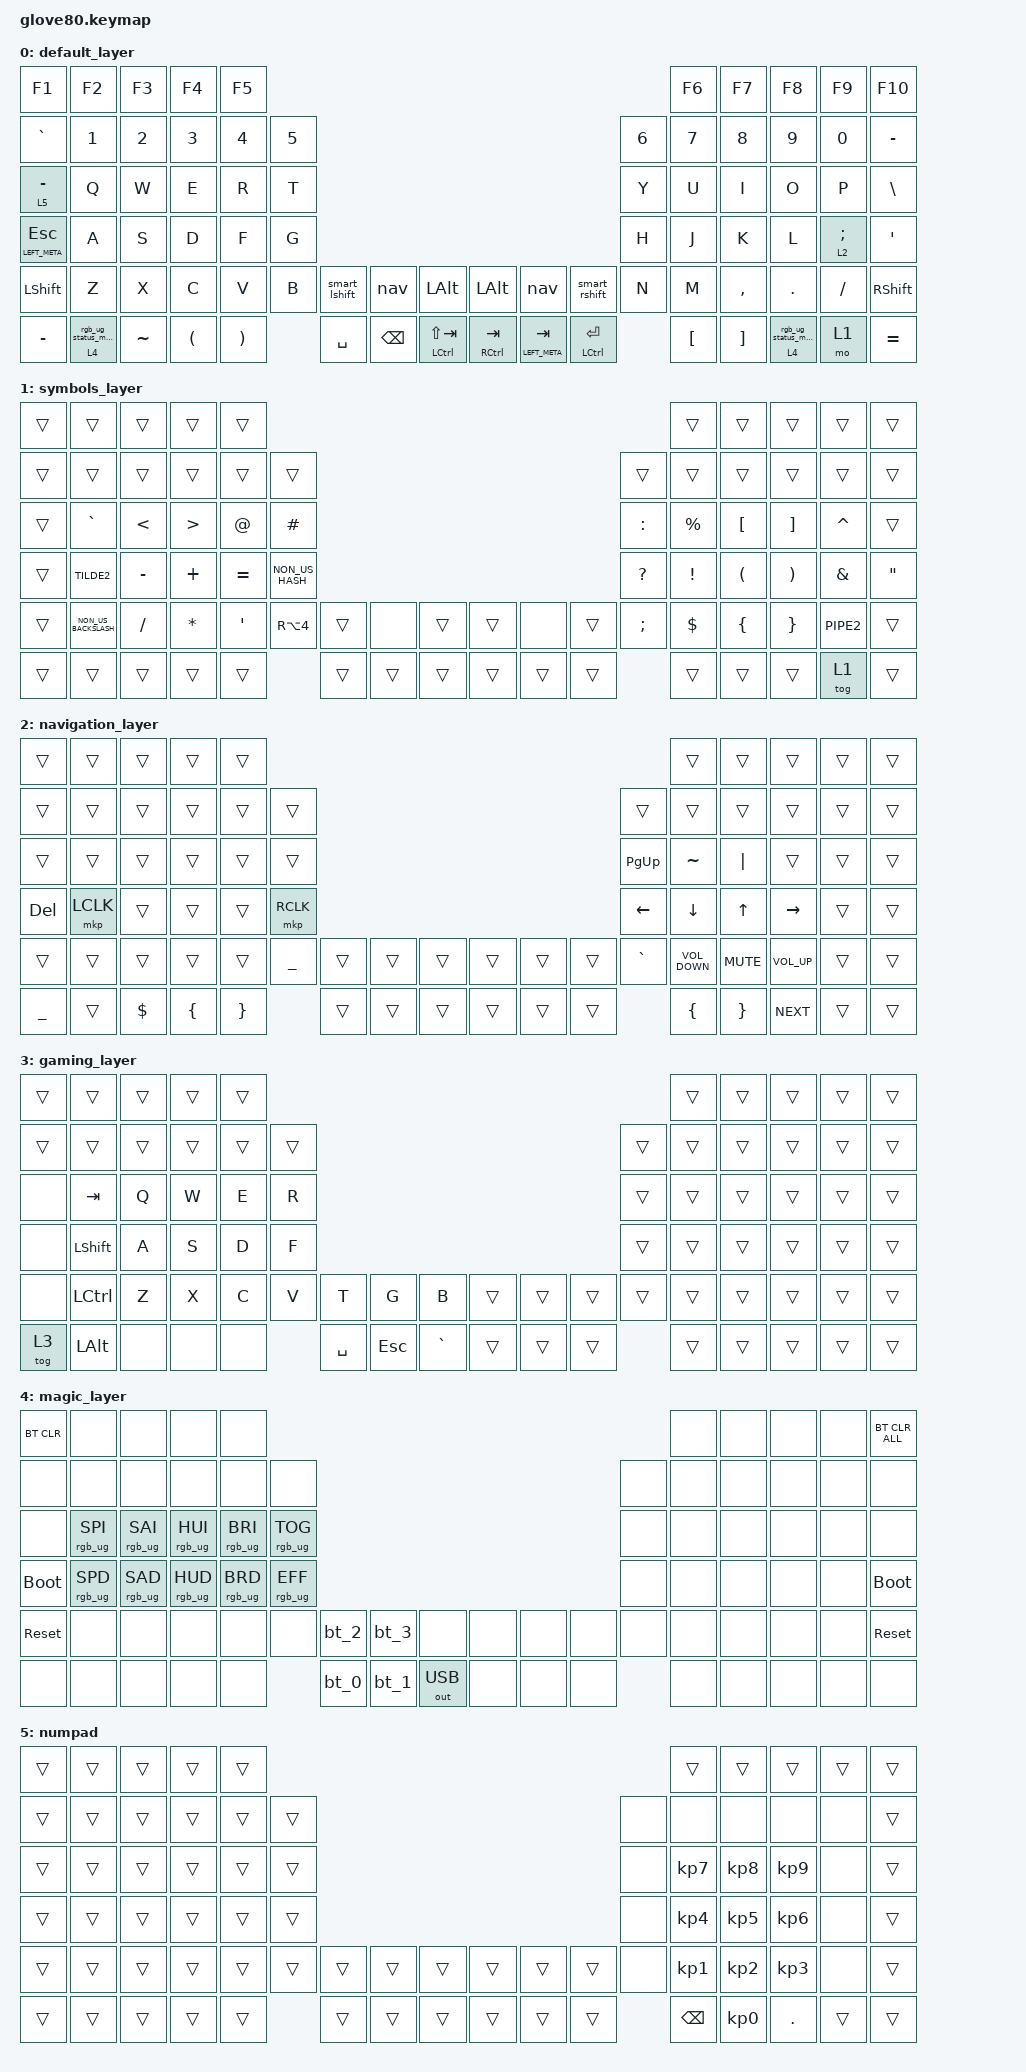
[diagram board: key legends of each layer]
/*
 * Copyright (c) 2020 The ZMK Contributors
 * Copyright (c) 2023 Matt Sturgeon
 *
 * SPDX-License-Identifier: MIT
 */

#include <behaviors.dtsi>
#include <dt-bindings/zmk/bt.h>
#include <dt-bindings/zmk/keys.h>
#include <dt-bindings/zmk/mouse.h>
#include <dt-bindings/zmk/outputs.h>
#include <dt-bindings/zmk/rgb.h>

/ {
    behaviors {
        symbols: symbols {
            compatible = "zmk,behavior-tap-dance";
            label = "SYMBOLS";
            #binding-cells = <0>;
            bindings = <&mo 1>, <&to 1>;
        };

        nav: nav {
            compatible = "zmk,behavior-tap-dance";
            label = "NAV";
            #binding-cells = <0>;
            bindings = <&mo 2>, <&to 2>;
        };

        smart_lshift: smart_lshift {
            compatible = "zmk,behavior-tap-dance";
            label = "SMART_LSHIFT";
            #binding-cells = <0>;
            bindings = <&kp LSHFT>, <&caps_word>;
        };

        smart_rshift: smart_rshift {
            compatible = "zmk,behavior-tap-dance";
            label = "SMART_RSHIFT";
            #binding-cells = <0>;
            bindings = <&kp RSHFT>, <&caps_word>;
        };

        quotes: quotes {
            compatible = "zmk,behavior-mod-morph";
            label = "QUOTES";
            bindings = <&kp SINGLE_QUOTE>, <&kp AT>;

            #binding-cells = <0>;
            mods = <(MOD_LSFT|MOD_RSFT)>;
        };

        question_excl: question_excl {
            compatible = "zmk,behavior-mod-morph";
            label = "QUESTION_EXCL";
            bindings = <&kp QUESTION>, <&kp EXCL>;

            #binding-cells = <0>;
            mods = <(MOD_LSFT|MOD_RSFT)>;
        };

        dash_slash: dash_slash {
            compatible = "zmk,behavior-mod-morph";
            label = "DASH_SLASH";
            bindings = <&kp MINUS>, <&kp SLASH>;

            #binding-cells = <0>;
            mods = <(MOD_LSFT|MOD_RSFT)>;
        };

        dot_colon: dot_colon {
            compatible = "zmk,behavior-mod-morph";
            label = "DOT_COLON";
            bindings = <&kp DOT>, <&kp COLON>;

            #binding-cells = <0>;
            mods = <(MOD_LSFT|MOD_RSFT)>;
        };

        comma_semi: comma_semi {
            compatible = "zmk,behavior-mod-morph";
            label = "COMMA_SEMI";
            bindings = <&kp COMMA>, <&kp SEMI>;

            #binding-cells = <0>;
            mods = <(MOD_LSFT|MOD_RSFT)>;
        };

        under_backsl: under_backsl {
            compatible = "zmk,behavior-mod-morph";
            label = "UNDER_BACKSL";
            bindings = <&kp UNDERSCORE>, <&kp NON_US_BACKSLASH>;

            #binding-cells = <0>;
            mods = <(MOD_RSFT|MOD_LSFT)>;
        };

        zero_f10: zero_f10 {
            compatible = "zmk,behavior-mod-morph";
            label = "ZERO_F10";
            bindings = <&kp N0>, <&kp F10>;

            #binding-cells = <0>;
            mods = <(MOD_RSFT|MOD_LSFT)>;
        };

        one_f1: one_f1 {
            compatible = "zmk,behavior-mod-morph";
            label = "ONE_F1";
            bindings = <&kp N1>, <&kp F1>;

            #binding-cells = <0>;
            mods = <(MOD_RSFT|MOD_LSFT)>;
        };

        two_f2: two_f2 {
            compatible = "zmk,behavior-mod-morph";
            label = "TWO_F2";
            bindings = <&kp N2>, <&kp F2>;

            #binding-cells = <0>;
            mods = <(MOD_LSFT|MOD_RSFT)>;
        };

        three_f3: three_f3 {
            compatible = "zmk,behavior-mod-morph";
            label = "THREE_F3";
            bindings = <&kp N3>, <&kp F3>;

            #binding-cells = <0>;
            mods = <(MOD_LSFT|MOD_RSFT)>;
        };

        four_f4: four_f4 {
            compatible = "zmk,behavior-mod-morph";
            label = "FOUR_F4";
            bindings = <&kp N4>, <&kp F4>;

            #binding-cells = <0>;
            mods = <(MOD_LSFT|MOD_RSFT)>;
        };

        five_f5: five_f5 {
            compatible = "zmk,behavior-mod-morph";
            label = "FIVE_F5";
            bindings = <&kp N5>, <&kp F5>;

            #binding-cells = <0>;
            mods = <(MOD_LSFT|MOD_RSFT)>;
        };

        six_f6: six_f6 {
            compatible = "zmk,behavior-mod-morph";
            label = "SIX_F6";
            bindings = <&kp N6>, <&kp F6>;

            #binding-cells = <0>;
            mods = <(MOD_LSFT|MOD_RSFT)>;
        };

        sev_f7: sev_f7 {
            compatible = "zmk,behavior-mod-morph";
            label = "SEV_F7";
            bindings = <&kp N7>, <&kp F7>;

            #binding-cells = <0>;
            mods = <(MOD_LSFT|MOD_RSFT)>;
        };

        eight_f8: eight_f8 {
            compatible = "zmk,behavior-mod-morph";
            label = "EIGHT_F8";
            bindings = <&kp N8>, <&kp F8>;

            #binding-cells = <0>;
            mods = <(MOD_LSFT|MOD_RSFT)>;
        };

        nine_f9: nine_f9 {
            compatible = "zmk,behavior-mod-morph";
            label = "NINE_F9";
            bindings = <&kp N9>, <&kp F9>;

            #binding-cells = <0>;
            mods = <(MOD_LSFT|MOD_RSFT)>;
        };

        mult_f11: mult_f11 {
            compatible = "zmk,behavior-mod-morph";
            label = "MULT_F11";
            bindings = <&kp KP_MULTIPLY>, <&kp F11>;

            #binding-cells = <0>;
            mods = <(MOD_LSFT|MOD_RSFT)>;
        };

        eq_f12: eq_f12 {
            compatible = "zmk,behavior-mod-morph";
            label = "EQ_F12";
            bindings = <&kp KP_EQUAL>, <&kp F12>;

            #binding-cells = <0>;
            mods = <(MOD_LSFT|MOD_RSFT)>;
        };

        magic: magic_hold_tap {
            compatible = "zmk,behavior-hold-tap";
            label = "MAGIC_HOLD_TAP";
            #binding-cells = <2>;
            flavor = "tap-preferred";
            tapping-term-ms = <200>;
            bindings = <&mo>, <&rgb_ug_status_macro>;
        };
    };
};

/ {
    macros {
        rgb_ug_status_macro: rgb_ug_status_macro_0 {
            label = "RGB_UG_STATUS";
            compatible = "zmk,behavior-macro";
            #binding-cells = <0>;
            bindings = <&rgb_ug RGB_STATUS>;
        };

        bt_0: bt_profile_macro_0 {
            label = "BT_0";
            compatible = "zmk,behavior-macro";
            #binding-cells = <0>;
            bindings = <&out OUT_BLE &bt BT_SEL 0>;
        };

        bt_1: bt_profile_macro_1 {
            label = "BT_1";
            compatible = "zmk,behavior-macro";
            #binding-cells = <0>;
            bindings = <&out OUT_BLE &bt BT_SEL 1>;
        };

        bt_2: bt_profile_macro_2 {
            label = "BT_2";
            compatible = "zmk,behavior-macro";
            #binding-cells = <0>;
            bindings = <&out OUT_BLE &bt BT_SEL 2>;
        };

        bt_3: bt_profile_macro_3 {
            label = "BT_3";
            compatible = "zmk,behavior-macro";
            #binding-cells = <0>;
            bindings = <&out OUT_BLE &bt BT_SEL 3>;
        };
    };
};

/ {
    combos {
        compatible = "zmk,combos";

        dbl_shift {
            bindings = <&caps_word>;
            key-positions = <52 57>;
            layers = <0>;
        };
    };

    keymap {
        compatible = "zmk,keymap";

        default_layer {
            bindings = <
&kp F1                &kp F2      &kp F3     &kp F4                &kp F5                                                                                                                                                           &kp F6            &kp F7     &kp F8      &kp F9      &kp F10
&kp GRAVE             &kp N1      &kp N2     &kp N3                &kp N4                 &kp N5                                                                                                                            &kp N6  &kp N7            &kp N8     &kp N9      &kp N0      &kp MINUS
&lt 5 MINUS           &kp Q       &kp W      &kp E                 &kp R                  &kp T                                                                                                                             &kp Y   &kp U             &kp I      &kp O       &kp P       &kp BSLH
&mt LEFT_META ESCAPE  &kp A       &kp S      &kp D                 &kp F                  &kp G                                                                                                                             &kp H   &kp J             &kp K      &kp L       &lt 2 SEMI  &kp SQT
&kp LSHFT             &kp Z       &kp X      &kp C                 &kp V                  &kp B   &smart_lshift  &nav           &kp LEFT_ALT              &kp LEFT_ALT           &nav               &smart_rshift           &kp N   &kp M             &kp COMMA  &kp DOT     &kp FSLH    &kp RIGHT_SHIFT
&kp MINUS             &magic 4 0  &kp TILDE  &kp LEFT_PARENTHESIS  &kp RIGHT_PARENTHESIS          &kp SPACE      &kp BACKSPACE  &mt LEFT_CONTROL LS(TAB)  &mt RIGHT_CONTROL TAB  &mt LEFT_META TAB  &mt LEFT_CONTROL ENTER          &kp LEFT_BRACKET  &kp RBKT   &magic 4 0  &mo 1       &kp EQUAL
            >;
        };

        symbols_layer {
            bindings = <
&trans  &trans                &trans     &trans        &trans                                                                                          &trans     &trans    &trans    &trans     &trans
&trans  &trans                &trans     &trans        &trans          &trans                                                           &trans         &trans     &trans    &trans    &trans     &trans
&trans  &kp GRAVE             &kp LT     &kp GT        &kp AT          &kp POUND                                                        &kp COLON      &kp PRCNT  &kp LBKT  &kp RBKT  &kp CARET  &trans
&trans  &kp TILDE2            &kp MINUS  &kp PLUS      &kp EQUAL       &kp NON_US_HASH                                                  &kp QMARK      &kp EXCL   &kp LPAR  &kp RPAR  &kp AMPS   &kp DOUBLE_QUOTES
&trans  &kp NON_US_BACKSLASH  &kp SLASH  &kp ASTERISK  &kp APOSTROPHE  &kp RA(N4)       &trans  &none   &trans  &trans  &none   &trans  &kp SEMICOLON  &kp DLLR   &kp LBRC  &kp RBRC  &kp PIPE2  &trans
&trans  &trans                &trans     &trans        &trans                           &trans  &trans  &trans  &trans  &trans  &trans                 &trans     &trans    &trans    &tog 1     &trans
            >;
        };

        navigation_layer {
            bindings = <
&trans     &trans     &trans      &trans          &trans                                                                                 &trans             &trans           &trans           &trans  &trans
&trans     &trans     &trans      &trans          &trans           &trans                                                     &trans     &trans             &trans           &trans           &trans  &trans
&trans     &trans     &trans      &trans          &trans           &trans                                                     &kp PG_UP  &kp TILDE          &kp PIPE         &trans           &trans  &trans
&kp DEL    &mkp LCLK  &trans      &trans          &trans           &mkp RCLK                                                  &kp LEFT   &kp DOWN           &kp UP           &kp RIGHT_ARROW  &trans  &trans
&trans     &trans     &trans      &trans          &trans           &kp UNDER  &trans  &trans  &trans  &trans  &trans  &trans  &kp GRAVE  &kp C_VOLUME_DOWN  &kp C_MUTE       &kp C_VOLUME_UP  &trans  &trans
&kp UNDER  &trans     &kp DOLLAR  &kp LEFT_BRACE  &kp RIGHT_BRACE             &trans  &trans  &trans  &trans  &trans  &trans             &kp LEFT_BRACE     &kp RIGHT_BRACE  &kp C_NEXT       &trans  &trans
            >;
        };

        gaming_layer {
            bindings = <
&trans  &trans     &trans  &trans  &trans                                                                         &trans  &trans  &trans  &trans  &trans
&trans  &trans     &trans  &trans  &trans  &trans                                                         &trans  &trans  &trans  &trans  &trans  &trans
&none   &kp TAB    &kp Q   &kp W   &kp E   &kp R                                                          &trans  &trans  &trans  &trans  &trans  &trans
&none   &kp LSHFT  &kp A   &kp S   &kp D   &kp F                                                          &trans  &trans  &trans  &trans  &trans  &trans
&none   &kp LCTRL  &kp Z   &kp X   &kp C   &kp V   &kp T      &kp G    &kp B      &trans  &trans  &trans  &trans  &trans  &trans  &trans  &trans  &trans
&tog 3  &kp LALT   &none   &none   &none           &kp SPACE  &kp ESC  &kp GRAVE  &trans  &trans  &trans          &trans  &trans  &trans  &trans  &trans
            >;
        };

        magic_layer {
            bindings = <
&bt BT_CLR   &none            &none            &none            &none                                                                                     &none  &none  &none  &none  &bt BT_CLR_ALL
&none        &none            &none            &none            &none            &none                                                             &none  &none  &none  &none  &none  &none
&none        &rgb_ug RGB_SPI  &rgb_ug RGB_SAI  &rgb_ug RGB_HUI  &rgb_ug RGB_BRI  &rgb_ug RGB_TOG                                                   &none  &none  &none  &none  &none  &none
&bootloader  &rgb_ug RGB_SPD  &rgb_ug RGB_SAD  &rgb_ug RGB_HUD  &rgb_ug RGB_BRD  &rgb_ug RGB_EFF                                                   &none  &none  &none  &none  &none  &bootloader
&sys_reset   &none            &none            &none            &none            &none            &bt_2  &bt_3  &none         &none  &none  &none  &none  &none  &none  &none  &none  &sys_reset
&none        &none            &none            &none            &none                             &bt_0  &bt_1  &out OUT_USB  &none  &none  &none         &none  &none  &none  &none  &none
            >;
        };

        numpad {
            bindings = <
&trans  &trans  &trans  &trans  &trans                                                                 &trans           &trans           &trans           &trans  &trans
&trans  &trans  &trans  &trans  &trans  &trans                                                  &none  &none            &none            &none            &none   &trans
&trans  &trans  &trans  &trans  &trans  &trans                                                  &none  &kp KP_NUMBER_7  &kp KP_N8        &kp KP_NUMBER_9  &none   &trans
&trans  &trans  &trans  &trans  &trans  &trans                                                  &none  &kp KP_NUMBER_4  &kp KP_NUMBER_5  &kp KP_NUMBER_6  &none   &trans
&trans  &trans  &trans  &trans  &trans  &trans  &trans  &trans  &trans  &trans  &trans  &trans  &none  &kp KP_NUMBER_1  &kp KP_NUMBER_2  &kp KP_NUMBER_3  &none   &trans
&trans  &trans  &trans  &trans  &trans          &trans  &trans  &trans  &trans  &trans  &trans         &kp BACKSPACE    &kp KP_NUMBER_0  &kp PERIOD       &trans  &trans
            >;
        };
    };
};

&caps_word { continue-list = <UNDERSCORE BACKSPACE DELETE MINUS KP_MINUS>; };
